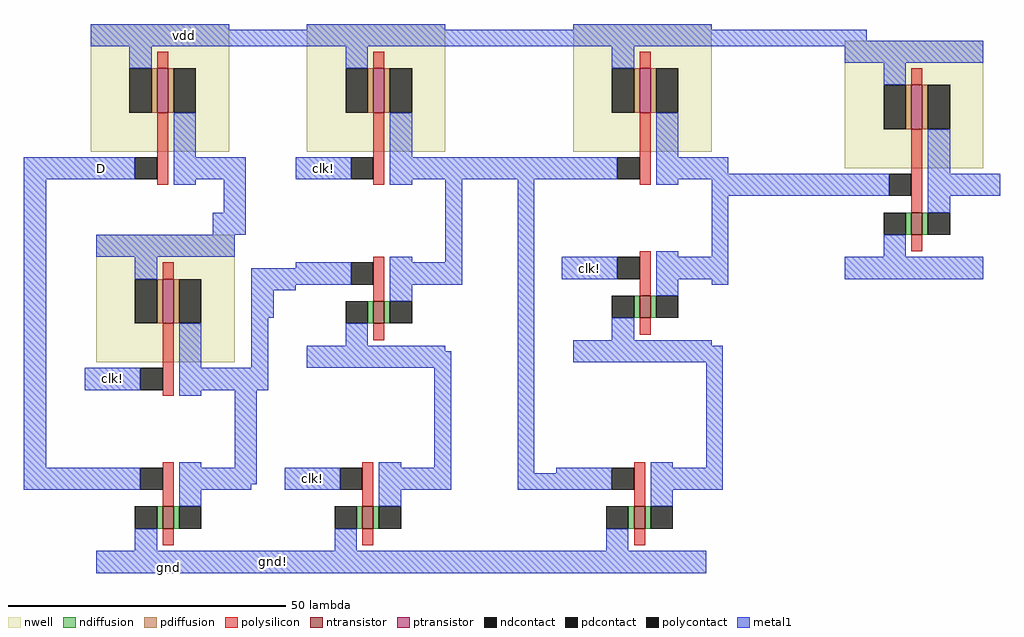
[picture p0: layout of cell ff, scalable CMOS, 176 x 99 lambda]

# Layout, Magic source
magic
tech scmos
<< metal1 >>
rect 21 25 136 27
rect 21 24 133 25
rect -16 0 -3 4
rect -16 -52 -12 0
rect 20 -6 24 4
rect 18 -10 24 -6
rect 60 0 82 4
rect 108 1 111 4
rect 20 -14 22 -10
rect 25 -20 33 -16
rect 60 -19 63 0
rect 25 -25 29 -20
rect 25 -37 28 -25
rect 51 -34 61 -31
rect 22 -38 28 -37
rect -16 -56 -5 -52
rect 22 -55 26 -38
rect 58 -55 61 -34
rect 73 -53 76 0
rect 108 -3 130 1
rect 108 -19 111 -3
rect 100 -33 110 -30
rect 73 -56 83 -53
rect 107 -54 110 -33
rect 22 -71 82 -67
use pmos  pmos_1
transform 1 0 5 0 1 -28
box -10 -11 20 18
use nmos  nmos_0
transform 1 0 5 0 1 -46
box -10 -25 20 -5
use nmos  nmos_1
transform 1 0 43 0 1 -9
box -10 -25 20 -5
use nmos  nmos_2
transform 1 0 41 0 1 -46
box -10 -25 20 -5
use nmos  nmos_3
transform 1 0 91 0 1 -8
box -10 -25 20 -5
use nmos  nmos_4
transform 1 0 90 0 1 -46
box -10 -25 20 -5
use pmos  pmos_0
transform 1 0 4 0 1 10
box -10 -11 20 18
use pmos  pmos_2
transform 1 0 43 0 1 10
box -10 -11 20 18
use pmos  pmos_3
transform 1 0 91 0 1 10
box -10 -11 20 18
use inverter  inverter_0
transform 1 0 140 0 1 7
box -10 -25 20 18
<< labels >>
rlabel space -2 2 -2 2 3 D
rlabel space 13 26 13 26 5 vdd
rlabel space 10 -70 10 -70 1 gnd
rlabel space 31 -56 41 -52 0 clk!
rlabel space -5 -38 5 -34 0 clk!
rlabel space 33 0 43 4 0 clk!
rlabel space 81 -18 91 -14 0 clk!
rlabel metal1 29 -69 29 -69 1 gnd!
<< end >>

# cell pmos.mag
magic
tech scmos
<< nwell >>
rect -8 -5 17 18
<< ptransistor >>
rect 4 2 6 10
<< pdiffusion >>
rect 3 2 4 10
rect 6 2 7 10
<< pdcontact >>
rect -1 2 3 10
rect 7 2 11 10
<< polysilicon >>
rect 4 10 6 13
rect 4 -11 6 2
<< polycontact >>
rect 0 -10 4 -6
<< metal1 >>
rect -8 14 17 18
rect -1 10 3 14
rect 7 -6 11 2
rect -10 -10 0 -6
rect 7 -10 20 -6
rect 7 -11 11 -10
<< end >>

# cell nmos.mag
magic
tech scmos
<< ntransistor >>
rect 4 -17 6 -13
<< ndiffusion >>
rect 3 -17 4 -13
rect 6 -17 7 -13
<< ndcontact >>
rect -1 -17 3 -13
rect 7 -17 11 -13
<< polysilicon >>
rect 4 -13 6 -5
rect 4 -20 6 -17
<< polycontact >>
rect 0 -10 4 -6
<< metal1 >>
rect 7 -6 11 -5
rect -10 -10 0 -6
rect 7 -10 20 -6
rect 7 -13 11 -10
rect -1 -21 3 -17
rect -8 -25 17 -21
<< end >>

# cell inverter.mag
magic
tech scmos
<< nwell >>
rect -8 -5 17 18
<< ntransistor >>
rect 4 -17 6 -13
<< ptransistor >>
rect 4 2 6 10
<< ndiffusion >>
rect 3 -17 4 -13
rect 6 -17 7 -13
<< pdiffusion >>
rect 3 2 4 10
rect 6 2 7 10
<< ndcontact >>
rect -1 -17 3 -13
rect 7 -17 11 -13
<< pdcontact >>
rect -1 2 3 10
rect 7 2 11 10
<< polysilicon >>
rect 4 10 6 13
rect 4 -13 6 2
rect 4 -20 6 -17
<< polycontact >>
rect 0 -10 4 -6
<< metal1 >>
rect -8 14 17 18
rect -1 10 3 14
rect 7 -6 11 2
rect -10 -10 0 -6
rect 7 -10 20 -6
rect 7 -13 11 -10
rect -1 -21 3 -17
rect -8 -25 17 -21
<< labels >>
rlabel metal1 -8 -8 -8 -8 3 in
rlabel metal1 19 -8 19 -8 7 out
rlabel metal1 3 16 3 16 5 vdd!
rlabel metal1 2 -23 2 -23 1 gnd!
<< end >>
